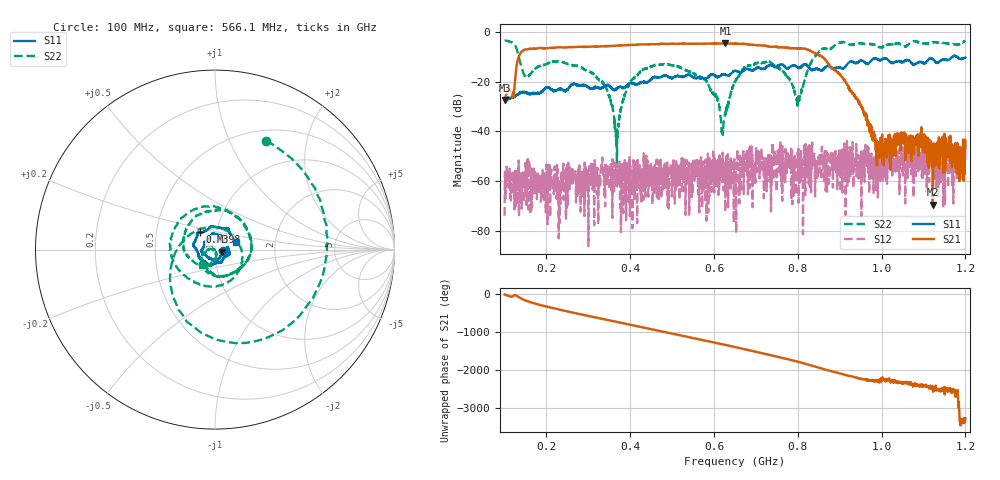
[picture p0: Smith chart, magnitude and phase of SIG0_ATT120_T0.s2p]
# Hz S DB R 50
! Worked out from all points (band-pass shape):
!   1601 points, 100 MHz to 1.2 GHz, reference 50 ohm
!   highest |S21| = -4.66 dB at 627.3 MHz (marker M1); lowest = -69.5 dB at 1.122 GHz (marker M2)
!   |S21| within 3 dB of the highest: 142.7 MHz to 830.3 MHz (687.6 MHz wide, 141 % of centre)
!   lowest |S11| = -27.4 dB at 100.7 MHz (marker M3), VSWR 1.09, Z = 54.3 - j1.22 ohm
!   |S11| at or under -10 dB: start of sweep to 1.169 GHz; 1.169119 GHz to 1.169851 GHz (732.2 kHz wide, 0.0626 % of centre); 1.179 GHz to end of sweep (the widest 3 of 4)
!   |S22| runs from -54.3 to -3.5 dB; largest |S21 - S12| = 0.59
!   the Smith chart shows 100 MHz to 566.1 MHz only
!   S11 on the Smith chart (normalised r, x): 100 MHz: 1.09, -0.02; 489.8 MHz: 0.83, +0.16; 566.1 MHz: 1.25, +0.11
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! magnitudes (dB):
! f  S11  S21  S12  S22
! 100 MHz  -26.9  -27.0  -74.0  -3.5
! 100.7 MHz  -27.4  -27.1  -56.3  -3.5
! 106.2 MHz  -27.0  -24.0  -57.9  -3.7
! 144.7 MHz  -24.3  -7.5  -60.9  -16.5
! 283.6 MHz  -21.7  -6.1  -61.3  -14.3
! 339.9 MHz  -21.9  -5.8  -70.2  -21.6
! 368.1 MHz  -22.6  -5.6  -62.2  -54.3
! 399.1 MHz  -20.7  -5.3  -74.2  -20.1
! 467.1 MHz  -18.4  -5.0  -51.8  -13.3
! 489.8 MHz  -17.9  -4.9  -61.4  -13.3
! 566.1 MHz  -18.3  -4.8  -51.8  -18.9
! 619.1 MHz  -17.1  -4.8  -51.6  -39.9
! 627.3 MHz  -17.4  -4.7  -54.7  -32.2
! 650 MHz  -15.7  -4.8  -55.4  -20.0
! 731.1 MHz  -13.5  -5.9  -50.8  -11.9
! 799.9 MHz  -14.3  -6.7  -48.5  -26.9
! 833.6 MHz  -15.4  -7.9  -52.3  -11.7
! 911.2 MHz  -14.6  -19.2  -44.9  -4.3
! 991 MHz  -11.2  -44.3  -66.6  -5.9
! 1.017 GHz  -11.7  -46.9  -53.7  -5.0
! 1.122 GHz  -11.0  -69.5  -52.9  -4.2
! 1.2 GHz  -10.4  -46.8  -51.6  -3.6
